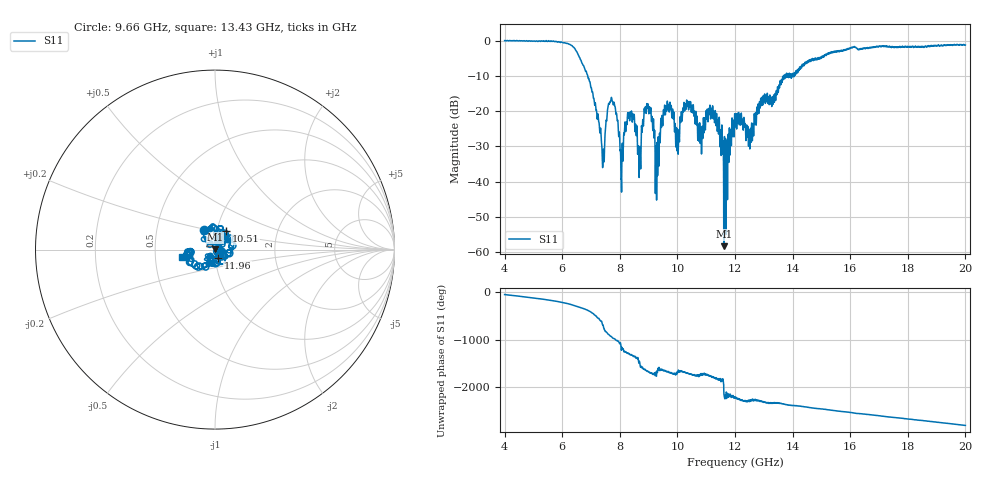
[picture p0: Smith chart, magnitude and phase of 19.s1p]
[Version] 2.0
! Rohde & Schwarz Vector Network Analyzer
! Rohde-Schwarz,ZNL20-2Port,1323001220200009,1.71.1.10-23.02.1.238
! Port Assignments:
! Nominal Port -> Actual Test Port
!  1 -> 1
! Created: GMT+2 2025-01-17 12:50:28
# Hz S RI R 50
[Number of Ports] 1
! freq[Hz]  S11[Re]  S11[Im]
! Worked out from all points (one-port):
!   16001 points, 4 GHz to 20 GHz, reference 50 ohm
!   lowest |S11| = -58.3 dB at 11.61 GHz (marker M1), VSWR 1.00, Z = 50 + j0.12 ohm
!   |S11| at or under -10 dB: 6.884 GHz to 13.7 GHz (6.814 GHz wide, 66.2 % of centre); 13.71207 GHz to 13.73998 GHz (27.9 MHz wide, 0.203 % of centre); 13.94152 GHz to 13.96431 GHz (22.78 MHz wide, 0.163 % of centre)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
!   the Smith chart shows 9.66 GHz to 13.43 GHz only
!   S11 on the Smith chart (normalised r, x): 9.66 GHz: 0.87, +0.19; 10.51 GHz: 1.10, +0.23; 11.96 GHz: 1.03, -0.09; 13.43 GHz: 0.68, -0.06
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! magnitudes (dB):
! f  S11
! 4 GHz  0.0
! 6 GHz  -0.5
! 6.893 GHz  -10.5
! 7.396 GHz  -34.6
! 7.685 GHz  -17.2
! 7.865 GHz  -20.8
! 8 GHz  -28.8
! 8.084 GHz  -29.2
! 8.343 GHz  -22.7
! 8.687 GHz  -31.0
! 9.003 GHz  -20.4
! 9.298 GHz  -29.0
! 9.66 GHz  -18.0
! 10 GHz  -25.7
! 10.25 GHz  -19.9
! 10.51 GHz  -18.3
! 10.78 GHz  -23.6
! 11.25 GHz  -22.2
! 11.61 GHz  -58.3
! 11.96 GHz  -26.3
! 12 GHz  -22.3
! 12.54 GHz  -24.9
! 12.92 GHz  -18.4
! 13.43 GHz  -14.4
! 14 GHz  -10.2
! 16 GHz  -2.0
! 18 GHz  -1.6
! 20 GHz  -1.2
